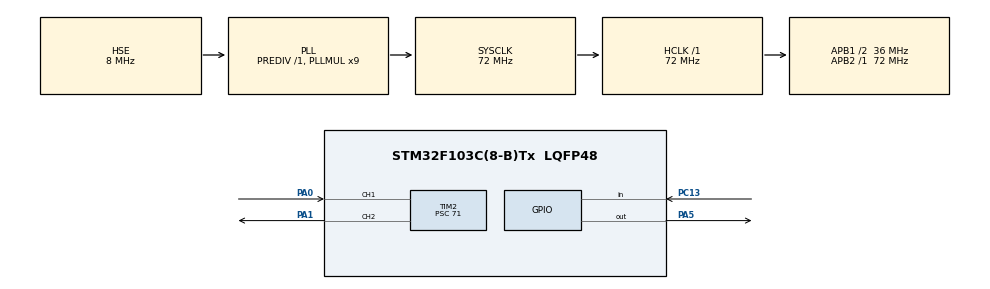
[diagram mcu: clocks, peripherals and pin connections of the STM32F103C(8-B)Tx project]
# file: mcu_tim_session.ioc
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Mcu.Family=STM32F1
Mcu.Name=STM32F103C(8-B)Tx
Mcu.Package=LQFP48
NVIC.PriorityGroup=NVIC_PRIORITYGROUP_4
PA0-WKUP.Signal=S_TIM2_CH1_ETR
PA1.Signal=S_TIM2_CH2
PA13.Mode=Serial_Wire
PA13.Signal=SYS_JTMS-SWDIO
PA14.Mode=Serial_Wire
PA14.Signal=SYS_JTCK-SWCLK
PA5.Signal=GPIO_Output
PC13-TAMPER-RTC.Signal=GPIO_Input
PD0-OSC_IN.Mode=HSE-External-Oscillator
PD0-OSC_IN.Signal=RCC_OSC_IN
PD1-OSC_OUT.Mode=HSE-External-Oscillator
PD1-OSC_OUT.Signal=RCC_OSC_OUT
ProjectManager.HeapSize=0x200
ProjectManager.StackSize=0x400
ProjectManager.TargetToolchain=STM32CubeIDE
RCC.AHBFreq_Value=72000000
RCC.APB1CLKDivider=RCC_HCLK_DIV2
RCC.APB1Freq_Value=36000000
RCC.APB1TimFreq_Value=72000000
RCC.APB2Freq_Value=72000000
RCC.APB2TimFreq_Value=72000000
RCC.HCLKFreq_Value=72000000
RCC.PLLMUL=RCC_PLL_MUL9
RCC.PLLSourceVirtual=RCC_PLLSOURCE_HSE
RCC.SYSCLKFreq_VALUE=72000000
RCC.SYSCLKSource=RCC_SYSCLKSOURCE_PLLCLK
RCC.USBFreq_Value=72000000
SH.S_TIM2_CH1_ETR.0=TIM2_CH1,Input_Capture1_from_TI1
SH.S_TIM2_CH2.0=TIM2_CH2,PWM Generation2 CH2
TIM2.Channel-Input_Capture1_from_TI1=TIM_CHANNEL_1
TIM2.Channel-PWM\ Generation2\ CH2=TIM_CHANNEL_2
TIM2.Period=24999
TIM2.Prescaler=71
TIM2.Pulse-PWM\ Generation2\ CH2=10
VP_TIM2_VS_ClockSourceINT.Mode=Internal
board=custom

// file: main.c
/* USER CODE BEGIN Header */
/**
  ******************************************************************************
  * @file           : main.c
  * @brief          : Main program body
  ******************************************************************************
  * @attention
  *
  * Copyright (c) 2025 STMicroelectronics.
  * All rights reserved.
  *
  * This software is licensed under terms that can be found in the LICENSE file
  * in the root directory of this software component.
  * If no LICENSE file comes with this software, it is provided AS-IS.
  *
  ******************************************************************************
  */
/* USER CODE END Header */
#include "main.h"

TIM_HandleTypeDef htim2;

/* USER CODE BEGIN PV */
volatile uint32_t ulRisingValue = 0;
volatile uint32_t ulDistance = 0; // mm
volatile uint8_t ucNewMeasure = 0;
/* USER CODE END PV */

void SystemClock_Config(void);
static void MX_GPIO_Init(void);
static void MX_TIM2_Init(void);

int main(void)
{

  /* MCU Configuration--------------------------------------------------------*/

  /* Reset of all peripherals, Initializes the Flash interface and the Systick. */
  HAL_Init();

  /* Configure the system clock */
  SystemClock_Config();

  /* Initialize all configured peripherals */
  MX_GPIO_Init();
  MX_TIM2_Init();

  /* Infinite loop */
  /* USER CODE BEGIN WHILE */
  while (1)
  {
	  if(ucNewMeasure)
	  {
		  uint32_t ulDistanceCopy = 0;
		  // #Critical section: Race condition on shared resources
		  __disable_irq();
		  ucNewMeasure = 0;
		  ulDistanceCopy = ulDistance;
		  __enable_irq();
		  // #End of Critical section

		  // Print new measurement
	  }
    /* USER CODE END WHILE */

  }
}

void SystemClock_Config(void)
{
  RCC_OscInitTypeDef RCC_OscInitStruct = {0};
  RCC_ClkInitTypeDef RCC_ClkInitStruct = {0};

  /** Initializes the RCC Oscillators according to the specified parameters
  * in the RCC_OscInitTypeDef structure.
  */
  RCC_OscInitStruct.OscillatorType = RCC_OSCILLATORTYPE_HSE;
  RCC_OscInitStruct.HSEState = RCC_HSE_ON;
  RCC_OscInitStruct.HSEPredivValue = RCC_HSE_PREDIV_DIV1;
  RCC_OscInitStruct.HSIState = RCC_HSI_ON;
  RCC_OscInitStruct.PLL.PLLState = RCC_PLL_ON;
  RCC_OscInitStruct.PLL.PLLSource = RCC_PLLSOURCE_HSE;
  RCC_OscInitStruct.PLL.PLLMUL = RCC_PLL_MUL9;
  if (HAL_RCC_OscConfig(&RCC_OscInitStruct) != HAL_OK)
  {
    Error_Handler();
  }

  /** Initializes the CPU, AHB and APB buses clocks
  */
  RCC_ClkInitStruct.ClockType = RCC_CLOCKTYPE_HCLK|RCC_CLOCKTYPE_SYSCLK
                              |RCC_CLOCKTYPE_PCLK1|RCC_CLOCKTYPE_PCLK2;
  RCC_ClkInitStruct.SYSCLKSource = RCC_SYSCLKSOURCE_PLLCLK;
  RCC_ClkInitStruct.AHBCLKDivider = RCC_SYSCLK_DIV1;
  RCC_ClkInitStruct.APB1CLKDivider = RCC_HCLK_DIV2;
  RCC_ClkInitStruct.APB2CLKDivider = RCC_HCLK_DIV1;

  if (HAL_RCC_ClockConfig(&RCC_ClkInitStruct, FLASH_LATENCY_2) != HAL_OK)
  {
    Error_Handler();
  }
}

static void MX_TIM2_Init(void)
{

  TIM_ClockConfigTypeDef sClockSourceConfig = {0};
  TIM_MasterConfigTypeDef sMasterConfig = {0};
  TIM_IC_InitTypeDef sConfigIC = {0};
  TIM_OC_InitTypeDef sConfigOC = {0};

  htim2.Instance = TIM2;
  htim2.Init.Prescaler = 71;
  htim2.Init.CounterMode = TIM_COUNTERMODE_UP;
  htim2.Init.Period = 24999;
  htim2.Init.ClockDivision = TIM_CLOCKDIVISION_DIV1;
  htim2.Init.AutoReloadPreload = TIM_AUTORELOAD_PRELOAD_DISABLE;
  if (HAL_TIM_Base_Init(&htim2) != HAL_OK)
  {
    Error_Handler();
  }
  sClockSourceConfig.ClockSource = TIM_CLOCKSOURCE_INTERNAL;
  if (HAL_TIM_ConfigClockSource(&htim2, &sClockSourceConfig) != HAL_OK)
  {
    Error_Handler();
  }
  if (HAL_TIM_IC_Init(&htim2) != HAL_OK)
  {
    Error_Handler();
  }
  if (HAL_TIM_PWM_Init(&htim2) != HAL_OK)
  {
    Error_Handler();
  }
  sMasterConfig.MasterOutputTrigger = TIM_TRGO_RESET;
  sMasterConfig.MasterSlaveMode = TIM_MASTERSLAVEMODE_DISABLE;
  if (HAL_TIMEx_MasterConfigSynchronization(&htim2, &sMasterConfig) != HAL_OK)
  {
    Error_Handler();
  }
  sConfigIC.ICPolarity = TIM_INPUTCHANNELPOLARITY_RISING;
  sConfigIC.ICSelection = TIM_ICSELECTION_DIRECTTI;
  sConfigIC.ICPrescaler = TIM_ICPSC_DIV1;
  sConfigIC.ICFilter = 0;
  if (HAL_TIM_IC_ConfigChannel(&htim2, &sConfigIC, TIM_CHANNEL_1) != HAL_OK)
  {
    Error_Handler();
  }
  sConfigOC.OCMode = TIM_OCMODE_PWM1;
  sConfigOC.Pulse = 10;
  sConfigOC.OCPolarity = TIM_OCPOLARITY_HIGH;
  sConfigOC.OCFastMode = TIM_OCFAST_DISABLE;
  if (HAL_TIM_PWM_ConfigChannel(&htim2, &sConfigOC, TIM_CHANNEL_2) != HAL_OK)
  {
    Error_Handler();
  }
  /* USER CODE BEGIN TIM2_Init 2 */
  HAL_NVIC_SetPriority(TIM2_IRQn, 0, 0);
  HAL_NVIC_EnableIRQ(TIM2_IRQn); // Habilita interrupciones del TIM2
  //HAL_TIM_Base_Start_IT(&htim2); // Habilitar cuenta del TIM2
  HAL_TIM_IC_Start_IT(&htim2, TIM_CHANNEL_1); // Habilita cuenta y entrada IC canal 1
  HAL_TIM_OC_Start(&htim2, TIM_CHANNEL_2); // Activando la salida del canal 2
  /* USER CODE END TIM2_Init 2 */
  HAL_TIM_MspPostInit(&htim2);

}

static void MX_GPIO_Init(void)
{
  GPIO_InitTypeDef GPIO_InitStruct = {0};

  /* GPIO Ports Clock Enable */
  __HAL_RCC_GPIOC_CLK_ENABLE();
  __HAL_RCC_GPIOD_CLK_ENABLE();
  __HAL_RCC_GPIOA_CLK_ENABLE();

  /*Configure GPIO pin Output Level */
  HAL_GPIO_WritePin(GPIOA, GPIO_PIN_5, GPIO_PIN_RESET);

  /*Configure GPIO pin : PC13 */
  GPIO_InitStruct.Pin = GPIO_PIN_13;
  GPIO_InitStruct.Mode = GPIO_MODE_INPUT;
  GPIO_InitStruct.Pull = GPIO_NOPULL;
  HAL_GPIO_Init(GPIOC, &GPIO_InitStruct);

  /*Configure GPIO pin : PA5 */
  GPIO_InitStruct.Pin = GPIO_PIN_5;
  GPIO_InitStruct.Mode = GPIO_MODE_OUTPUT_PP;
  GPIO_InitStruct.Pull = GPIO_NOPULL;
  GPIO_InitStruct.Speed = GPIO_SPEED_FREQ_LOW;
  HAL_GPIO_Init(GPIOA, &GPIO_InitStruct);

}

/* USER CODE BEGIN 4 */
void TIM2_IRQHandler(void)
{
	// Check if Update Interrupt occurred
	/*if (TIM2->SR & TIM_SR_UIF)
	{
		TIM2->SR &= ~TIM_SR_UIF; // Clear the flag

		// Perform action (e.g., toggle LED on PA5)
		GPIOA->ODR ^= (1 << 5);
	}*/
	if(TIM2->SR & TIM_SR_CC1IF)
	{
		TIM2->SR &= ~TIM_SR_CC1IF; // Limpiar bandera

		// Verificar cual flanco esta activo
		if(TIM2->CCER & TIM_CCER_CC1P == 0)
		{
			// Guarda cuenta de timer en el cambio de flanco
			ulRisingValue = TIM2->CCR1;

			// Configurar flanco descendete
			TIM2->CCER |= TIM_CCER_CCR1;
		}
		else
		{
			// Calcular el ancho de pulso y distancia
			ulDistance = (TIM2->CCR1 - ulRisingValue) * 0.17;

			// Bandera de nuevo dato
			ucNewMeasure = 1;

			// Configurar flanco ascendente
			TIM2->CCER &= ~TIM_CCER_CCR1;
		}
	}
}
/* USER CODE END 4 */

void Error_Handler(void)
{
  __disable_irq();
  while (1)
  {
  }
}
